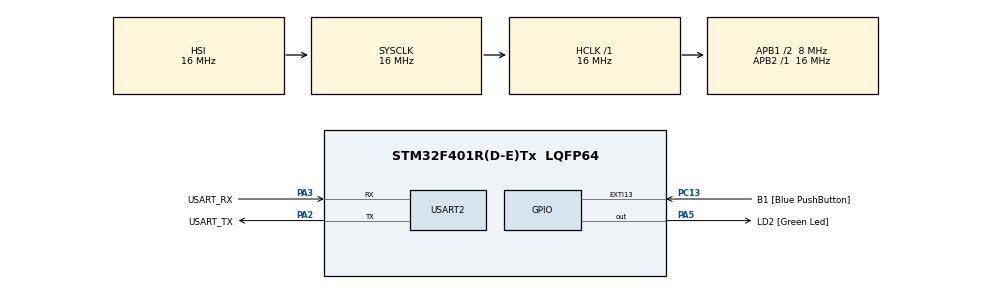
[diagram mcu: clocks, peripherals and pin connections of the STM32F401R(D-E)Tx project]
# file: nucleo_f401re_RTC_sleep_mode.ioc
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Mcu.Family=STM32F4
Mcu.Name=STM32F401R(D-E)Tx
Mcu.Package=LQFP64
NVIC.PriorityGroup=NVIC_PRIORITYGROUP_0
NVIC.RTC_Alarm_IRQn=true\:0\:0\:false\:false\:true\:true\:true\:true
PA13.GPIO_Label=TMS
PA13.Mode=Serial_Wire
PA13.Signal=SYS_JTMS-SWDIO
PA14.GPIO_Label=TCK
PA14.Mode=Serial_Wire
PA14.Signal=SYS_JTCK-SWCLK
PA2.GPIO_Label=USART_TX
PA2.GPIO_Mode=GPIO_MODE_AF_PP
PA2.GPIO_PuPd=GPIO_NOPULL
PA2.GPIO_Speed=GPIO_SPEED_FREQ_LOW
PA2.Mode=Asynchronous
PA2.Signal=USART2_TX
PA3.GPIO_Label=USART_RX
PA3.GPIO_Mode=GPIO_MODE_AF_PP
PA3.GPIO_PuPd=GPIO_NOPULL
PA3.GPIO_Speed=GPIO_SPEED_FREQ_LOW
PA3.Mode=Asynchronous
PA3.Signal=USART2_RX
PA5.GPIO_Label=LD2 [Green Led]
PA5.GPIO_Mode=GPIO_MODE_OUTPUT_PP
PA5.GPIO_PuPd=GPIO_NOPULL
PA5.GPIO_Speed=GPIO_SPEED_FREQ_LOW
PA5.Signal=GPIO_Output
PB3.GPIO_Label=SWO
PB3.Signal=SYS_JTDO-SWO
PC13-ANTI_TAMP.GPIO_Label=B1 [Blue PushButton]
PC13-ANTI_TAMP.GPIO_ModeDefaultEXTI=GPIO_MODE_IT_FALLING
PC13-ANTI_TAMP.GPIO_PuPd=GPIO_NOPULL
PC13-ANTI_TAMP.Signal=GPXTI13
PC14-OSC32_IN.Mode=LSE-External-Oscillator
PC14-OSC32_IN.Signal=RCC_OSC32_IN
PC15-OSC32_OUT.Mode=LSE-External-Oscillator
PC15-OSC32_OUT.Signal=RCC_OSC32_OUT
PH0\ -\ OSC_IN.Mode=HSE-External-Clock-Source
PH0\ -\ OSC_IN.Signal=RCC_OSC_IN
PH1\ -\ OSC_OUT.Mode=HSE-External-Clock-Source
PH1\ -\ OSC_OUT.Signal=RCC_OSC_OUT
ProjectManager.HeapSize=0x200
ProjectManager.StackSize=0x400
ProjectManager.TargetToolchain=STM32CubeIDE
RCC.48MHZClocksFreq_Value=48000000
RCC.AHBFreq_Value=16000000
RCC.APB1CLKDivider=RCC_HCLK_DIV2
RCC.APB1Freq_Value=8000000
RCC.APB1TimFreq_Value=16000000
RCC.APB2Freq_Value=16000000
RCC.APB2TimFreq_Value=16000000
RCC.CortexFreq_Value=16000000
RCC.HCLKFreq_Value=16000000
RCC.HSE_VALUE=8000000
RCC.HSI_VALUE=16000000
RCC.PLLM=4
RCC.PLLN=72
RCC.PLLP=RCC_PLLP_DIV4
RCC.PLLQ=3
RCC.PLLSourceVirtual=RCC_PLLSOURCE_HSE
RCC.RCC_RTC_Clock_Source=RCC_RTCCLKSOURCE_LSE
RCC.RCC_RTC_Clock_SourceVirtual=RCC_RTCCLKSOURCE_LSE
RCC.SYSCLKFreq_VALUE=16000000
RCC.VCOOutputFreq_Value=144000000
RTC.Alarm=RTC_ALARM_A
RTC.AlarmMaskMinutes=RTC_ALARMMASK_MINUTES
RTC.Minutes_A=1
RTC.Seconds_A=0
USART2.VirtualMode=VM_ASYNC
VP_RTC_VS_RTC_Activate.Mode=RTC_Enabled
VP_RTC_VS_RTC_Alarm_A_Intern.Mode=Alarm A
VP_RTC_VS_RTC_Calendar.Mode=RTC_Calendar
VP_RTC_VS_RTC_WakeUp_intern.Mode=WakeUp
board=NUCLEO-F401RE

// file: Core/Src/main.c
/* USER CODE BEGIN Header */
/**
  ******************************************************************************
  * @file           : main.c
  * @brief          : Main program body
  ******************************************************************************
  * @attention
  *
  * Copyright (c) 2023 STMicroelectronics.
  * All rights reserved.
  *
  * This software is licensed under terms that can be found in the LICENSE file
  * in the root directory of this software component.
  * If no LICENSE file comes with this software, it is provided AS-IS.
  *
  ******************************************************************************
  */
/* USER CODE END Header */
#include "main.h"

/* USER CODE BEGIN Includes */
#include <string.h>
#include "stm32f4xx_hal.h"
/* USER CODE END Includes */

RTC_HandleTypeDef hrtc;

UART_HandleTypeDef huart2;

/* USER CODE BEGIN PV */
RTC_DateTypeDef rtc_date;
RTC_TimeTypeDef rtc_time;
RTC_AlarmTypeDef  rtc_alarm;
/* USER CODE END PV */

void SystemClock_Config(void);
static void MX_GPIO_Init(void);
static void MX_USART2_UART_Init(void);
static void MX_RTC_Init(void);

/* USER CODE BEGIN 0 */
uint8_t B2D(uint8_t byte)
{
  uint8_t low, high;
  low = byte & 0x0F;
  high = ((byte >> 4) & 0x0F) * 10;
  return high + low;
}

uint8_t D2B(uint8_t byte)
{
    return ((byte/10)<<4) + (byte%10);
}

void HAL_RTC_AlarmAEventCallback(RTC_HandleTypeDef *hrtc)
{
	 RTC_AlarmTypeDef sAlarm;
	  RTC_TimeTypeDef sTime;

	  HAL_RTC_GetTime(hrtc, &sTime, RTC_FORMAT_BCD);

	  if(sTime.Minutes == 59)
	  {
	    sAlarm.AlarmTime.Hours = D2B(B2D(sTime.Hours)+1);
	    sAlarm.AlarmTime.Minutes = 0x0;
	    sAlarm.AlarmTime.Seconds = 0x0;

	  }
	  else
	  {
	    sAlarm.AlarmTime.Hours = sTime.Hours;
	    sAlarm.AlarmTime.Minutes = D2B(B2D(sTime.Minutes)+1);
	    sAlarm.AlarmTime.Seconds = 0x0;
	  }
	  sAlarm.Alarm = RTC_ALARM_A;

  char meg[] = "Exit Sleep mode!!\r\n";
   	 HAL_UART_Transmit(&huart2, (uint8_t*)meg, strlen(meg), 100);

  if (HAL_RTC_SetAlarm_IT(hrtc, &sAlarm, RTC_FORMAT_BCD) == HAL_OK)
     {
	  /* Clear the RTC Alarm interrupt flag */
      //	    __HAL_RTC_ALARM_CLEAR_FLAG(&hrtc, RTC_FLAG_ALRAF);

	     /* Exit Sleep mode */
	     HAL_PWR_DisableSleepOnExit();
//	   __HAL_PWR_CLEAR_FLAG(PWR_FLAG_WU);  // Clear Wake-up flag

     }
  else if (HAL_RTC_SetAlarm_IT(hrtc, &sAlarm, RTC_FORMAT_BCD) != HAL_OK)
   {
     Error_Handler();
   }
  MX_RTC_Init();

}
/* USER CODE END 0 */

int main(void)
{
  /* USER CODE BEGIN 1 */
	// Initialize HAL Library
	    HAL_Init();

	    // Initialize RTC
	    hrtc.Instance = RTC;
	    // ... (configure other RTC parameters)

	    // Initialize RTC HAL
	    HAL_RTC_Init(&hrtc);

	    // Set the Alarm A
	    RTC_AlarmTypeDef alarm;
	    // ... (configure alarm parameters)
	    HAL_RTC_SetAlarm_IT(&hrtc, &alarm, RTC_FORMAT_BCD);

  /* USER CODE END 1 */

  /* MCU Configuration--------------------------------------------------------*/

  /* Reset of all peripherals, Initializes the Flash interface and the Systick. */
  HAL_Init();

  /* Configure the system clock */
  SystemClock_Config();

  /* Initialize all configured peripherals */
  MX_GPIO_Init();
  MX_USART2_UART_Init();
  MX_RTC_Init();

  /* Infinite loop */
  /* USER CODE BEGIN WHILE */
  while (1)
  {
	 HAL_RTC_GetTime(&hrtc, &rtc_time, RTC_FORMAT_BCD);
	 HAL_RTC_GetDate(&hrtc, &rtc_date, RTC_FORMAT_BCD);
	 char msg[21]; //YYYY-MM-DD HH:mm:SS
	 sprintf(msg, "%04d-%02d-%02d %02d:%02d:%02d\r\n",
	 B2D(rtc_date.Year)+2000, B2D(rtc_date.Month), B2D(rtc_date.Date),
	 B2D(rtc_time.Hours), B2D(rtc_time.Minutes), B2D(rtc_time.Seconds));
     HAL_UART_Transmit(&huart2, (uint8_t*)msg, sizeof(msg), 100);
	 HAL_Delay(1000);
	    // Configure other peripherals and settings for entering sleep mode
	    // Clear Wake-up Flag
	 if (B2D(rtc_time.Seconds) == 10)
	     {
		 char mag[] = "Entry Sleep mode!!\r\n";
			 HAL_UART_Transmit(&huart2, (uint8_t*)mag, strlen(mag), 100);
	   	 __HAL_PWR_CLEAR_FLAG(PWR_FLAG_WU);
			 HAL_SuspendTick();
			 HAL_PWR_EnterSLEEPMode(PWR_LOWPOWERREGULATOR_ON, PWR_SLEEPENTRY_WFI);
			 HAL_ResumeTick();
	     }

    /* USER CODE END WHILE */

  }
}

void SystemClock_Config(void)
{
  RCC_OscInitTypeDef RCC_OscInitStruct = {0};
  RCC_ClkInitTypeDef RCC_ClkInitStruct = {0};

  /** Configure the main internal regulator output voltage
  */
  __HAL_RCC_PWR_CLK_ENABLE();
  __HAL_PWR_VOLTAGESCALING_CONFIG(PWR_REGULATOR_VOLTAGE_SCALE2);

  /** Initializes the RCC Oscillators according to the specified parameters
  * in the RCC_OscInitTypeDef structure.
  */
  RCC_OscInitStruct.OscillatorType = RCC_OSCILLATORTYPE_HSI|RCC_OSCILLATORTYPE_LSE;
  RCC_OscInitStruct.LSEState = RCC_LSE_ON;
  RCC_OscInitStruct.HSIState = RCC_HSI_ON;
  RCC_OscInitStruct.HSICalibrationValue = RCC_HSICALIBRATION_DEFAULT;
  RCC_OscInitStruct.PLL.PLLState = RCC_PLL_NONE;
  if (HAL_RCC_OscConfig(&RCC_OscInitStruct) != HAL_OK)
  {
    Error_Handler();
  }

  /** Initializes the CPU, AHB and APB buses clocks
  */
  RCC_ClkInitStruct.ClockType = RCC_CLOCKTYPE_HCLK|RCC_CLOCKTYPE_SYSCLK
                              |RCC_CLOCKTYPE_PCLK1|RCC_CLOCKTYPE_PCLK2;
  RCC_ClkInitStruct.SYSCLKSource = RCC_SYSCLKSOURCE_HSI;
  RCC_ClkInitStruct.AHBCLKDivider = RCC_SYSCLK_DIV1;
  RCC_ClkInitStruct.APB1CLKDivider = RCC_HCLK_DIV2;
  RCC_ClkInitStruct.APB2CLKDivider = RCC_HCLK_DIV1;

  if (HAL_RCC_ClockConfig(&RCC_ClkInitStruct, FLASH_LATENCY_0) != HAL_OK)
  {
    Error_Handler();
  }
}

static void MX_RTC_Init(void)
{

  RTC_TimeTypeDef sTime = {0};
  RTC_DateTypeDef sDate = {0};
  RTC_AlarmTypeDef sAlarm = {0};

  /** Initialize RTC Only
  */
  hrtc.Instance = RTC;
  hrtc.Init.HourFormat = RTC_HOURFORMAT_24;
  hrtc.Init.AsynchPrediv = 127;
  hrtc.Init.SynchPrediv = 255;
  hrtc.Init.OutPut = RTC_OUTPUT_DISABLE;
  hrtc.Init.OutPutPolarity = RTC_OUTPUT_POLARITY_HIGH;
  hrtc.Init.OutPutType = RTC_OUTPUT_TYPE_OPENDRAIN;
  if (HAL_RTC_Init(&hrtc) != HAL_OK)
  {
    Error_Handler();
  }

  /** Initialize RTC and set the Time and Date
  */
  sTime.Hours = 0x0;
  sTime.Minutes = 0x0;
  sTime.Seconds = 0x0;
  sTime.DayLightSaving = RTC_DAYLIGHTSAVING_NONE;
  sTime.StoreOperation = RTC_STOREOPERATION_RESET;
  if (HAL_RTC_SetTime(&hrtc, &sTime, RTC_FORMAT_BCD) != HAL_OK)
  {
    Error_Handler();
  }
  sDate.WeekDay = RTC_WEEKDAY_MONDAY;
  sDate.Month = RTC_MONTH_JANUARY;
  sDate.Date = 0x1;
  sDate.Year = 0x0;

  if (HAL_RTC_SetDate(&hrtc, &sDate, RTC_FORMAT_BCD) != HAL_OK)
  {
    Error_Handler();
  }

  /** Enable the Alarm A
  */
  sAlarm.AlarmTime.Hours = 0x0;
  sAlarm.AlarmTime.Minutes = 0x1;
  sAlarm.AlarmTime.Seconds = 0x0;
  sAlarm.AlarmTime.SubSeconds = 0x0;
  sAlarm.AlarmTime.DayLightSaving = RTC_DAYLIGHTSAVING_NONE;
  sAlarm.AlarmTime.StoreOperation = RTC_STOREOPERATION_RESET;
  sAlarm.AlarmMask = RTC_ALARMMASK_MINUTES;
  sAlarm.AlarmSubSecondMask = RTC_ALARMSUBSECONDMASK_ALL;
  sAlarm.AlarmDateWeekDaySel = RTC_ALARMDATEWEEKDAYSEL_DATE;
  sAlarm.AlarmDateWeekDay = 0x1;
  sAlarm.Alarm = RTC_ALARM_A;
  if (HAL_RTC_SetAlarm_IT(&hrtc, &sAlarm, RTC_FORMAT_BCD) != HAL_OK)
  {
    Error_Handler();
  }

  /** Enable the WakeUp
  */
  if (HAL_RTCEx_SetWakeUpTimer(&hrtc, 0, RTC_WAKEUPCLOCK_RTCCLK_DIV16) != HAL_OK)
  {
    Error_Handler();
  }

}

static void MX_USART2_UART_Init(void)
{

  huart2.Instance = USART2;
  huart2.Init.BaudRate = 115200;
  huart2.Init.WordLength = UART_WORDLENGTH_8B;
  huart2.Init.StopBits = UART_STOPBITS_1;
  huart2.Init.Parity = UART_PARITY_NONE;
  huart2.Init.Mode = UART_MODE_TX_RX;
  huart2.Init.HwFlowCtl = UART_HWCONTROL_NONE;
  huart2.Init.OverSampling = UART_OVERSAMPLING_16;
  if (HAL_UART_Init(&huart2) != HAL_OK)
  {
    Error_Handler();
  }

}

static void MX_GPIO_Init(void)
{
  GPIO_InitTypeDef GPIO_InitStruct = {0};

  /* GPIO Ports Clock Enable */
  __HAL_RCC_GPIOC_CLK_ENABLE();
  __HAL_RCC_GPIOH_CLK_ENABLE();
  __HAL_RCC_GPIOA_CLK_ENABLE();
  __HAL_RCC_GPIOB_CLK_ENABLE();

  /*Configure GPIO pin Output Level */
  HAL_GPIO_WritePin(LD2_GPIO_Port, LD2_Pin, GPIO_PIN_RESET);

  /*Configure GPIO pin : B1_Pin */
  GPIO_InitStruct.Pin = B1_Pin;
  GPIO_InitStruct.Mode = GPIO_MODE_IT_FALLING;
  GPIO_InitStruct.Pull = GPIO_NOPULL;
  HAL_GPIO_Init(B1_GPIO_Port, &GPIO_InitStruct);

  /*Configure GPIO pin : LD2_Pin */
  GPIO_InitStruct.Pin = LD2_Pin;
  GPIO_InitStruct.Mode = GPIO_MODE_OUTPUT_PP;
  GPIO_InitStruct.Pull = GPIO_NOPULL;
  GPIO_InitStruct.Speed = GPIO_SPEED_FREQ_LOW;
  HAL_GPIO_Init(LD2_GPIO_Port, &GPIO_InitStruct);

}

void Error_Handler(void)
{
  __disable_irq();
  while (1)
  {
  }
}
